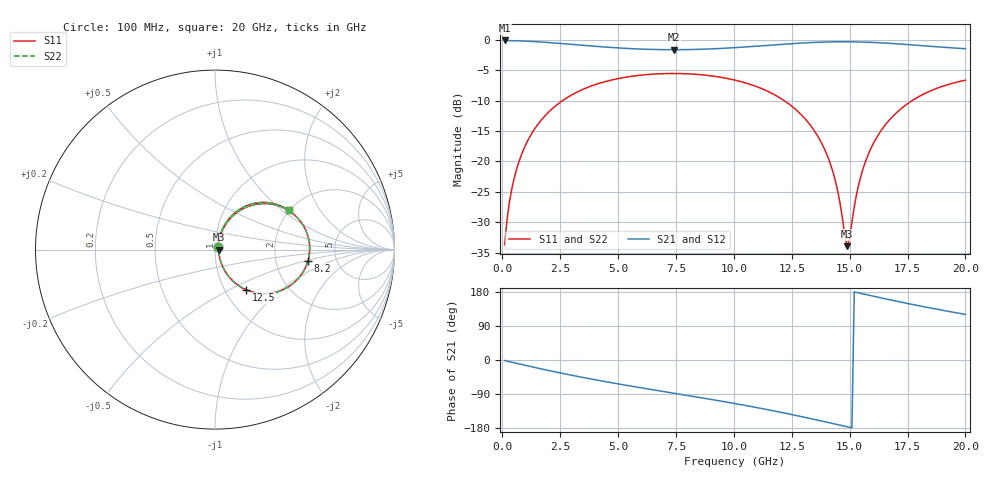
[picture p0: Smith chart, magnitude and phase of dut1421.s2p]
! Touchstone file exported from HFSS 2026.1.0
!  File:  C:/ffzhzh/LocalFiles/Ansys_Project_Files/temp_train_TSV_RDL_1421_1783354469_46376.aedt
!  Generated:  12:26:38 AM Jul  7, 2026
!  Design:  TSV_RDL
!  Project:  temp_train_TSV_RDL_1421_1783354469_46376
! Variables:
!  h_bsmrdl = 4.22um
!  h_ox = 20um
!  h_rdl = 5um
!  h_sub = 94.83um
!  h_tmrdl = 3.32um
!  h_tsv = 94.83um
!  h_via = 3um
!  l_bsmrdl = 916.74um
!  l_sub = 3860.96um
!  l_tmrdl = 142.78um
!  m_sub = 200um
!  pitch = 56.95um
!  r_tsv = 6.05um
!  s_tmrdl = 10um
!  w_bsmrdl = 28.48um
!  w_sub = 500um
!  w_tmrdl = 18.06um
!  x_tsv_center1 = 151.81um
!  x_tsv_center2 = 1097.03um
!  x_tsv_center3 = 1257.87um
!  x_tsv_center4 = 2203.09um
!  x_tsv_center5 = 2363.93um
!  x_tsv_center6 = 3309.15um
# GHz S MA R 50.000000
! Terminal data exported
! Port[1] = TM_RDL1_1_T1
! Port[2] = TM_RDL5_1_T1
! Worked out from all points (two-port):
!   200 points, 100 MHz to 20 GHz, reference 50 ohm
!   highest |S21| = -0.13 dB at 100 MHz (marker M1); lowest = -1.6 dB at 7.4 GHz (marker M2)
!   |S21| within 3 dB of the highest: start of sweep to end of sweep
!   lowest |S11| = -33.9 dB at 14.9 GHz (marker M3), VSWR 1.04, Z = 52.1 - j0.0114 ohm
!   |S11| at or under -10 dB: start of sweep to 2.605 GHz; 12.17 GHz to 17.7 GHz (5.532 GHz wide, 37 % of centre)
!   |S22| runs from -34.0 to -5.6 dB; largest |S21 - S12| = 1.7e-14
!   S11 on the Smith chart (normalised r, x): 100 MHz: 1.03, +0.03; 8.2 GHz: 3.08, -0.53; 12.5 GHz: 1.26, -0.61; 20 GHz: 1.98, +1.11
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0.1  0.02065 43.9  0.9854 -1.5  0.9854 -1.5  0.02065 43.9
! Gamma 0 0 0 0
! Port Impedance 50 0 50 0
0.3  0.04523 65.1  0.9832 -4.4  0.9832 -4.4  0.04523 65.1
0.5  0.07112 69.3  0.981 -7.2  0.981 -7.2  0.07112 69.3
1.1  0.1483 67.5  0.9711 -15.5  0.9711 -15.5  0.1483 67.5
2.1  0.2652 56.8  0.9446 -29.0  0.9446 -29.0  0.2652 56.8
3.5  0.3922 40.7  0.8984 -46.3  0.8984 -46.3  0.3922 40.7
6.8  0.5248 6.7  0.8289 -81.5  0.8289 -81.5  0.5248 6.7
7.4  0.5276 0.9  0.8271 -87.5  0.8271 -87.5  0.5276 0.9
8.2  0.5218 -6.9  0.8303 -95.6  0.8303 -95.6  0.5218 -6.9
10.1  0.463 -25.9  0.8614 -115.5  0.8614 -115.5  0.463 -25.9
12.5  0.2846 -52.1  0.9274 -143.9  0.9274 -143.9  0.2846 -52.1
13.4  0.1874 -61.5  0.9481 -155.7  0.9481 -155.7  0.1874 -61.5
14.3  0.07957 -65.0  0.9597 -168.0  0.9597 -168.0  0.07954 -65.1
14.5  0.05552 -61.1  0.9607 -170.7  0.9607 -170.7  0.05548 -61.2
14.9  0.02016 -0.3  0.961 -176.3  0.961 -176.3  0.02002 -0.3
15  0.02334 31.3  0.9606 -177.6  0.9606 -177.6  0.02322 31.5
15.3  0.05371 64.9  0.9587 178.2  0.9587 178.2  0.05365 65.0
15.6  0.08957 69.9  0.9555 174.1  0.9555 174.1  0.08954 70.0
16.1  0.1493 68.5  0.9474 167.3  0.9474 167.3  0.1492 68.5
16.7  0.2171 63.1  0.934 159.4  0.934 159.4  0.2171 63.2
18.1  0.3498 48.1  0.894 141.8  0.894 141.8  0.3498 48.1
20  0.4647 28.1  0.8433 120.3  0.8433 120.3  0.4647 28.1
